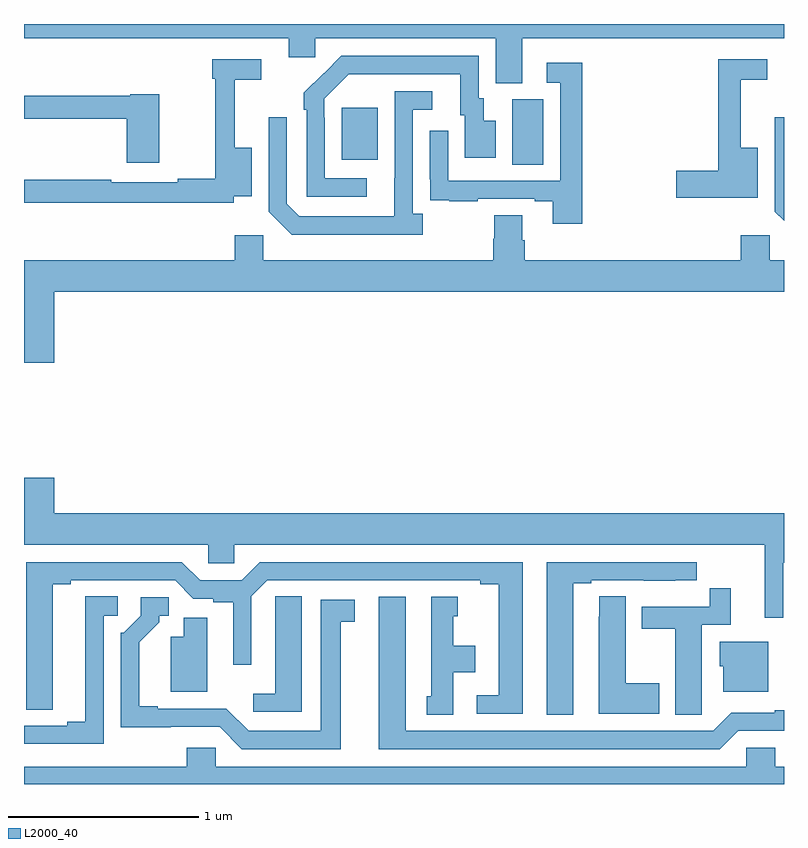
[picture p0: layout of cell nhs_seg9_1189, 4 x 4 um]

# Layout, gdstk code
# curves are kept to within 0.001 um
import gdstk
lib = gdstk.Library(unit=1e-6, precision=1e-09)
def R(c, l, rs):  # rectangles x0, y0, x1, y1
    for r in rs: c.add(gdstk.rectangle(r[:2], r[2:], *l))
def P(c, l, *ps):  # polygons
    for p in ps: c.add(gdstk.Polygon(p, *l))
L2000_40 = (2000, 40)

nhs_seg9_1189 = lib.new_cell('nhs_seg9_1189')
R(nhs_seg9_1189, L2000_40, [(179.57,1191.76,179.734,1192.104), (178.673,1191.785,178.861,1192.06)])
P(nhs_seg9_1189, L2000_40, [(179.623,1192.424),(181,1192.424),(181,1192.5),(177,1192.5),(177,1192.424),(178.394,1192.424),(178.394,1192.326),(178.533,1192.326),(178.533,1192.424),(179.483,1192.424),(179.483,1192.189),(179.623,1192.189)],
  [(178.804,1191.687),(178.584,1191.687),(178.584,1192.007),(178.581,1192.007),(178.581,1192.107),(178.71,1192.236),(179.297,1192.236),(179.297,1192.02),(179.321,1192.02),(179.321,1191.795),(179.482,1191.795),(179.482,1191.991),(179.419,1191.991),(179.419,1192.11),(179.394,1192.11),(179.394,1192.332),(178.67,1192.332),(178.473,1192.137),(178.473,1192.049),(178.488,1192.049),(178.488,1191.591),(178.804,1191.591)],
  [(178.104,1191.593),(178.198,1191.593),(178.198,1191.85),(178.109,1191.85),(178.109,1192.206),(178.249,1192.206),(178.249,1192.314),(177.991,1192.314),(177.991,1192.211),(178.006,1192.211),(178.006,1191.686),(177.808,1191.686),(177.808,1191.666),(177.458,1191.666),(177.458,1191.679),(177,1191.679),(177,1191.558),(178.104,1191.558)],
  [(180.862,1191.85),(180.773,1191.85),(180.773,1192.206),(180.913,1192.206),(180.913,1192.314),(180.655,1192.314),(180.655,1191.728),(180.432,1191.728),(180.432,1191.586),(180.862,1191.586)],
  [(179.939,1192.297),(179.751,1192.297),(179.751,1192.191),(179.823,1192.191),(179.823,1191.675),(179.232,1191.675),(179.232,1191.937),(179.136,1191.937),(179.136,1191.682),(179.137,1191.682),(179.137,1191.573),(179.239,1191.573),(179.239,1191.567),(179.387,1191.567),(179.387,1191.579),(179.687,1191.579),(179.687,1191.567),(179.783,1191.567),(179.783,1191.45),(179.939,1191.45)],
  [(179.098,1191.502),(179.046,1191.502),(179.046,1192.05),(179.149,1192.05),(179.149,1192.146),(178.95,1192.146),(178.949,1191.489),(178.449,1191.489),(178.383,1191.555),(178.383,1192.009),(178.287,1192.009),(178.287,1191.513),(178.408,1191.392),(179.098,1191.392)],
  [(177.712,1192.131),(177.558,1192.131),(177.558,1192.123),(177,1192.123),(177,1192.002),(177.542,1192.002),(177.542,1191.771),(177.712,1191.771)],
  [(181,1192.009),(180.951,1192.009),(180.951,1191.513),(181,1191.464)],
  [(177.16,1191.092),(181,1191.092),(181,1191.256),(180.924,1191.256),(180.924,1191.388),(180.773,1191.388),(180.773,1191.256),(179.636,1191.256),(179.636,1191.362),(179.623,1191.362),(179.623,1191.494),(179.476,1191.494),(179.476,1191.369),(179.471,1191.369),(179.471,1191.256),(178.26,1191.256),(178.26,1191.388),(178.109,1191.388),(178.109,1191.256),(177,1191.256),(177,1190.718),(177.16,1190.718)],
  [(180.996,1189.664),(181,1189.664),(181,1189.924),(177.16,1189.924),(177.16,1190.113),(177,1190.113),(177,1189.76),(177.969,1189.76),(177.969,1189.662),(178.107,1189.662),(178.107,1189.76),(180.899,1189.76),(180.899,1189.374),(180.996,1189.374)],
  [(179.626,1189.668),(178.241,1189.668),(178.145,1189.572),(177.927,1189.572),(177.831,1189.668),(177.011,1189.668),(177.012,1188.892),(177.151,1188.892),(177.151,1189.552),(177.247,1189.552),(177.247,1189.572),(177.795,1189.572),(177.891,1189.476),(177.996,1189.476),(177.996,1189.456),(178.1,1189.456),(178.1,1189.128),(178.197,1189.128),(178.197,1189.488),(178.281,1189.572),(179.402,1189.572),(179.402,1189.552),(179.498,1189.552),(179.498,1188.966),(179.382,1188.966),(179.382,1188.87),(179.626,1188.87)],
  [(179.89,1189.557),(179.986,1189.557),(179.986,1189.572),(180.262,1189.572),(180.262,1189.571),(180.428,1189.571),(180.428,1189.572),(180.541,1189.572),(180.541,1189.668),(179.75,1189.668),(179.75,1188.865),(179.89,1188.865)],
  [(180.567,1188.976),(180.568,1188.976),(180.568,1189.338),(180.719,1189.338),(180.719,1189.531),(180.61,1189.531),(180.61,1189.434),(180.251,1189.434),(180.251,1189.318),(180.428,1189.318),(180.428,1188.865),(180.567,1188.865)],
  [(177.42,1189.386),(177.493,1189.386),(177.493,1189.487),(177.323,1189.487),(177.323,1188.827),(177.227,1188.827),(177.227,1188.807),(177,1188.807),(177,1188.711),(177.42,1188.711)],
  [(178.462,1189.487),(178.323,1189.487),(178.323,1189.379),(178.322,1189.379),(178.322,1188.976),(178.206,1188.976),(178.206,1188.879),(178.462,1188.879)],
  [(180.343,1189.029),(180.166,1189.029),(180.166,1189.487),(180.027,1189.487),(180.027,1189.379),(180.026,1189.379),(180.026,1188.869),(180.343,1188.869)],
  [(180.759,1188.78),(181,1188.78),(181,1188.889),(180.95,1188.889),(180.95,1188.876),(180.723,1188.876),(180.627,1188.78),(179.008,1188.78),(179.008,1189.486),(178.868,1189.486),(178.868,1188.684),(180.663,1188.684)],
  [(179.26,1189.088),(179.374,1189.088),(179.374,1189.228),(179.26,1189.228),(179.26,1189.383),(179.284,1189.383),(179.284,1189.486),(179.144,1189.486),(179.144,1188.963),(179.12,1188.963),(179.12,1188.865),(179.26,1188.865)],
  [(178.666,1189.354),(178.741,1189.354),(178.741,1189.47),(178.562,1189.47),(178.562,1188.78),(178.182,1188.78),(178.065,1188.897),(177.703,1188.897),(177.703,1188.91),(177.607,1188.91),(177.607,1189.246),(177.712,1189.351),(177.712,1189.386),(177.762,1189.386),(177.762,1189.482),(177.615,1189.482),(177.615,1189.386),(177.525,1189.296),(177.51,1189.296),(177.51,1188.8),(178.029,1188.801),(178.146,1188.684),(178.666,1188.684)],
  [(177.964,1189.374),(177.842,1189.374),(177.842,1189.276),(177.773,1189.276),(177.773,1188.986),(177.964,1188.986)],
  [(180.916,1189.249),(180.662,1189.249),(180.662,1189.119),(180.68,1189.119),(180.68,1188.986),(180.916,1188.986)],
  [(181,1188.592),(180.953,1188.592),(180.953,1188.69),(180.801,1188.69),(180.801,1188.592),(178.008,1188.592),(178.008,1188.69),(177.857,1188.69),(177.857,1188.592),(177,1188.592),(177,1188.5),(181,1188.5)])

lib.write_gds('nhs_seg9_1189.gds')
